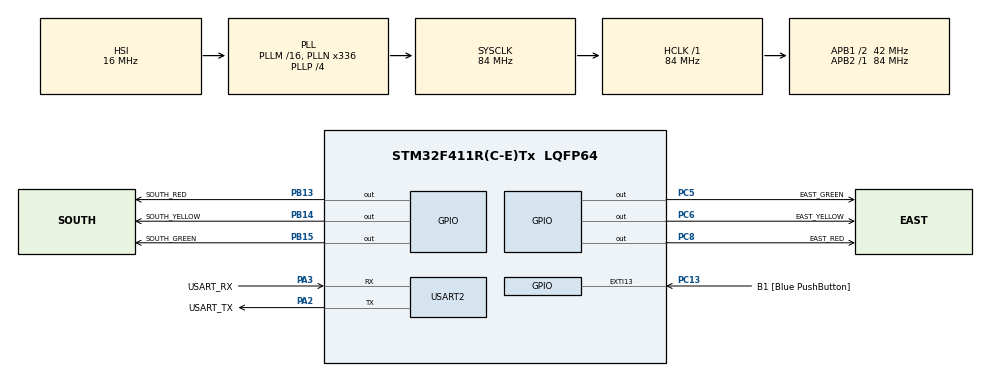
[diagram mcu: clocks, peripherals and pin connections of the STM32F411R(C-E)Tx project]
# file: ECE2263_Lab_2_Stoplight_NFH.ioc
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Mcu.Family=STM32F4
Mcu.Name=STM32F411R(C-E)Tx
Mcu.Package=LQFP64
NVIC.EXTI15_10_IRQn=true\:0\:0\:false\:false\:true\:true\:true
NVIC.PriorityGroup=NVIC_PRIORITYGROUP_0
PA13.GPIO_Label=TMS
PA13.Mode=Serial_Wire
PA13.Signal=SYS_JTMS-SWDIO
PA14.GPIO_Label=TCK
PA14.Mode=Serial_Wire
PA14.Signal=SYS_JTCK-SWCLK
PA2.GPIO_Label=USART_TX
PA2.Mode=Asynchronous
PA2.Signal=USART2_TX
PA3.GPIO_Label=USART_RX
PA3.Mode=Asynchronous
PA3.Signal=USART2_RX
PB13.GPIO_Label=SOUTH_RED
PB13.GPIO_PuPd=GPIO_PULLDOWN
PB13.PinState=GPIO_PIN_SET
PB13.Signal=GPIO_Output
PB14.GPIO_Label=SOUTH_YELLOW
PB14.GPIO_PuPd=GPIO_PULLDOWN
PB14.PinState=GPIO_PIN_SET
PB14.Signal=GPIO_Output
PB15.GPIO_Label=SOUTH_GREEN
PB15.GPIO_PuPd=GPIO_PULLDOWN
PB15.PinState=GPIO_PIN_SET
PB15.Signal=GPIO_Output
PB3.GPIO_Label=SWO
PB3.Signal=SYS_JTDO-SWO
PC13-ANTI_TAMP.GPIO_Label=B1 [Blue PushButton]
PC13-ANTI_TAMP.GPIO_ModeDefaultEXTI=GPIO_MODE_IT_FALLING
PC13-ANTI_TAMP.Signal=GPXTI13
PC14-OSC32_IN.Signal=RCC_OSC32_IN
PC15-OSC32_OUT.Signal=RCC_OSC32_OUT
PC5.GPIO_Label=EAST_GREEN
PC5.GPIO_PuPd=GPIO_PULLDOWN
PC5.PinState=GPIO_PIN_SET
PC5.Signal=GPIO_Output
PC6.GPIO_Label=EAST_YELLOW
PC6.GPIO_PuPd=GPIO_PULLDOWN
PC6.PinState=GPIO_PIN_SET
PC6.Signal=GPIO_Output
PC8.GPIO_Label=EAST_RED
PC8.GPIO_PuPd=GPIO_PULLDOWN
PC8.PinState=GPIO_PIN_SET
PC8.Signal=GPIO_Output
PH0\ -\ OSC_IN.Signal=RCC_OSC_IN
PH1\ -\ OSC_OUT.Signal=RCC_OSC_OUT
ProjectManager.HeapSize=0x200
ProjectManager.StackSize=0x400
ProjectManager.TargetToolchain=STM32CubeIDE
RCC.48MHZClocksFreq_Value=84000000
RCC.AHBFreq_Value=84000000
RCC.APB1CLKDivider=RCC_HCLK_DIV2
RCC.APB1Freq_Value=42000000
RCC.APB1TimFreq_Value=84000000
RCC.APB2Freq_Value=84000000
RCC.APB2TimFreq_Value=84000000
RCC.CortexFreq_Value=84000000
RCC.FLatency-AdvancedSettings=FLASH_LATENCY_2
RCC.HCLKFreq_Value=84000000
RCC.HSE_VALUE=8000000
RCC.HSI_VALUE=16000000
RCC.LSE_VALUE=32768
RCC.PLLN=336
RCC.PLLP=RCC_PLLP_DIV4
RCC.SYSCLKFreq_VALUE=84000000
RCC.SYSCLKSource=RCC_SYSCLKSOURCE_PLLCLK
RCC.VCOOutputFreq_Value=336000000
USART2.VirtualMode=VM_ASYNC
board=NUCLEO-F411RE

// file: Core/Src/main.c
/* USER CODE BEGIN Header */
/**
  ******************************************************************************
  * @file           : main.c
  * @brief          : Main program body
  ******************************************************************************
  * @attention
  *
  * <h2><center>&copy; Copyright (c) 2020 STMicroelectronics.
  * All rights reserved.</center></h2>
  *
  * This software component is licensed by ST under BSD 3-Clause license,
  * the "License"; You may not use this file except in compliance with the
  * License. You may obtain a copy of the License at:
  *                        opensource.org/licenses/BSD-3-Clause
  *
  ******************************************************************************
  */
/* USER CODE END Header */
#include "main.h"

/* USER CODE BEGIN PM */
const uint32_t ON_TIMER = 5000;
const uint32_t YEILD_TIMER = 2000;
/* USER CODE END PM */

UART_HandleTypeDef huart2;

/* USER CODE BEGIN PV */
	volatile uint32_t lightCounter = 0;
	uint8_t lightState = 0;
/* USER CODE END PV */

void SystemClock_Config(void);
static void MX_GPIO_Init(void);
static void MX_USART2_UART_Init(void);

int main(void)
{

  /* MCU Configuration--------------------------------------------------------*/

  /* Reset of all peripherals, Initializes the Flash interface and the Systick. */
  HAL_Init();

  /* Configure the system clock */
  SystemClock_Config();

  /* Initialize all configured peripherals */
  MX_GPIO_Init();
  MX_USART2_UART_Init();
  /* USER CODE BEGIN 2 */
  HAL_GPIO_WritePin(GPIOB, SOUTH_RED_Pin, GPIO_PIN_SET);
  HAL_GPIO_WritePin(GPIOB, SOUTH_YELLOW_Pin|SOUTH_GREEN_Pin, GPIO_PIN_RESET);
  HAL_GPIO_WritePin(GPIOC, EAST_RED_Pin, GPIO_PIN_SET);
  HAL_GPIO_WritePin(GPIOC,EAST_YELLOW_Pin|EAST_GREEN_Pin, GPIO_PIN_RESET);
  /* USER CODE END 2 */

  /* Infinite loop */
  while (1)
  {

    /* USER CODE BEGIN 3 */

	 if(lightCounter > YEILD_TIMER && lightState == 3){
		 lightState = 0;
		 lightCounter = 0;
	 }else if(lightCounter > ON_TIMER && lightState == 0){
		 lightState = 1;
		 lightCounter = 0;
	 }else if (lightCounter > YEILD_TIMER && lightState == 1){
		 lightState = 2;
		 lightCounter = 0;
	 }else if(lightCounter > ON_TIMER && lightState == 2){
		 lightState = 3;
		 lightCounter = 0;
	 }else if(lightState == 99 && lightCounter > ON_TIMER){
		 lightState = 0;
		 lightCounter = 0;
	 }

	 switch (lightState) {
		case 0:
			HAL_GPIO_WritePin(GPIOB, SOUTH_RED_Pin|SOUTH_YELLOW_Pin, GPIO_PIN_RESET);
			HAL_GPIO_WritePin(GPIOB, SOUTH_GREEN_Pin, GPIO_PIN_SET);
			HAL_GPIO_WritePin(GPIOC, EAST_RED_Pin, GPIO_PIN_SET);
			HAL_GPIO_WritePin(GPIOC, EAST_GREEN_Pin|EAST_YELLOW_Pin, GPIO_PIN_RESET);
			break;
		case 1:
			HAL_GPIO_WritePin(GPIOB, SOUTH_GREEN_Pin|SOUTH_RED_Pin, GPIO_PIN_RESET);
			HAL_GPIO_WritePin(GPIOB, SOUTH_YELLOW_Pin, GPIO_PIN_SET);
			HAL_GPIO_WritePin(GPIOC, EAST_RED_Pin, GPIO_PIN_SET);
			HAL_GPIO_WritePin(GPIOC, EAST_GREEN_Pin|EAST_YELLOW_Pin, GPIO_PIN_RESET);
			break;
		case 2:
			HAL_GPIO_WritePin(GPIOB, SOUTH_YELLOW_Pin|SOUTH_GREEN_Pin, GPIO_PIN_RESET);
			HAL_GPIO_WritePin(GPIOB, SOUTH_RED_Pin, GPIO_PIN_SET);
			HAL_GPIO_WritePin(GPIOC, EAST_RED_Pin|EAST_YELLOW_Pin, GPIO_PIN_RESET);
			HAL_GPIO_WritePin(GPIOC, EAST_GREEN_Pin, GPIO_PIN_SET);
			break;
		case 3:
			HAL_GPIO_WritePin(GPIOB, SOUTH_YELLOW_Pin|SOUTH_GREEN_Pin, GPIO_PIN_RESET);
			HAL_GPIO_WritePin(GPIOB, SOUTH_RED_Pin, GPIO_PIN_SET);
			HAL_GPIO_WritePin(GPIOC, EAST_GREEN_Pin|EAST_RED_Pin, GPIO_PIN_RESET);
			HAL_GPIO_WritePin(GPIOC, EAST_YELLOW_Pin, GPIO_PIN_SET);
			break;
		case 99:
			HAL_GPIO_WritePin(GPIOB, SOUTH_RED_Pin, GPIO_PIN_SET);
			HAL_GPIO_WritePin(GPIOB, SOUTH_YELLOW_Pin|SOUTH_GREEN_Pin, GPIO_PIN_RESET);
			HAL_GPIO_WritePin(GPIOC, EAST_RED_Pin, GPIO_PIN_SET);
			HAL_GPIO_WritePin(GPIOC,EAST_YELLOW_Pin|EAST_GREEN_Pin, GPIO_PIN_RESET);
			break;
		default:
			HAL_GPIO_WritePin(GPIOB, SOUTH_RED_Pin, GPIO_PIN_SET);
			HAL_GPIO_WritePin(GPIOB, SOUTH_YELLOW_Pin|SOUTH_GREEN_Pin, GPIO_PIN_RESET);
			HAL_GPIO_WritePin(GPIOC, EAST_RED_Pin, GPIO_PIN_SET);
			HAL_GPIO_WritePin(GPIOC,EAST_YELLOW_Pin|EAST_GREEN_Pin, GPIO_PIN_RESET);
			break;
	}

//
//  HAL_Delay(1000);

//  HAL_Delay(500);

//  HAL_Delay(1000);

  }
  /* USER CODE END 3 */
}

void SystemClock_Config(void)
{
  RCC_OscInitTypeDef RCC_OscInitStruct = {0};
  RCC_ClkInitTypeDef RCC_ClkInitStruct = {0};

  /** Configure the main internal regulator output voltage
  */
  __HAL_RCC_PWR_CLK_ENABLE();
  __HAL_PWR_VOLTAGESCALING_CONFIG(PWR_REGULATOR_VOLTAGE_SCALE1);
  /** Initializes the RCC Oscillators according to the specified parameters
  * in the RCC_OscInitTypeDef structure.
  */
  RCC_OscInitStruct.OscillatorType = RCC_OSCILLATORTYPE_HSI;
  RCC_OscInitStruct.HSIState = RCC_HSI_ON;
  RCC_OscInitStruct.HSICalibrationValue = RCC_HSICALIBRATION_DEFAULT;
  RCC_OscInitStruct.PLL.PLLState = RCC_PLL_ON;
  RCC_OscInitStruct.PLL.PLLSource = RCC_PLLSOURCE_HSI;
  RCC_OscInitStruct.PLL.PLLM = 16;
  RCC_OscInitStruct.PLL.PLLN = 336;
  RCC_OscInitStruct.PLL.PLLP = RCC_PLLP_DIV4;
  RCC_OscInitStruct.PLL.PLLQ = 4;
  if (HAL_RCC_OscConfig(&RCC_OscInitStruct) != HAL_OK)
  {
    Error_Handler();
  }
  /** Initializes the CPU, AHB and APB buses clocks
  */
  RCC_ClkInitStruct.ClockType = RCC_CLOCKTYPE_HCLK|RCC_CLOCKTYPE_SYSCLK
                              |RCC_CLOCKTYPE_PCLK1|RCC_CLOCKTYPE_PCLK2;
  RCC_ClkInitStruct.SYSCLKSource = RCC_SYSCLKSOURCE_PLLCLK;
  RCC_ClkInitStruct.AHBCLKDivider = RCC_SYSCLK_DIV1;
  RCC_ClkInitStruct.APB1CLKDivider = RCC_HCLK_DIV2;
  RCC_ClkInitStruct.APB2CLKDivider = RCC_HCLK_DIV1;

  if (HAL_RCC_ClockConfig(&RCC_ClkInitStruct, FLASH_LATENCY_2) != HAL_OK)
  {
    Error_Handler();
  }
}

static void MX_USART2_UART_Init(void)
{

  huart2.Instance = USART2;
  huart2.Init.BaudRate = 115200;
  huart2.Init.WordLength = UART_WORDLENGTH_8B;
  huart2.Init.StopBits = UART_STOPBITS_1;
  huart2.Init.Parity = UART_PARITY_NONE;
  huart2.Init.Mode = UART_MODE_TX_RX;
  huart2.Init.HwFlowCtl = UART_HWCONTROL_NONE;
  huart2.Init.OverSampling = UART_OVERSAMPLING_16;
  if (HAL_UART_Init(&huart2) != HAL_OK)
  {
    Error_Handler();
  }

}

static void MX_GPIO_Init(void)
{
  GPIO_InitTypeDef GPIO_InitStruct = {0};

  /* GPIO Ports Clock Enable */
  __HAL_RCC_GPIOC_CLK_ENABLE();
  __HAL_RCC_GPIOH_CLK_ENABLE();
  __HAL_RCC_GPIOA_CLK_ENABLE();
  __HAL_RCC_GPIOB_CLK_ENABLE();

  /*Configure GPIO pin Output Level */
  HAL_GPIO_WritePin(GPIOC, EAST_GREEN_Pin|EAST_YELLOW_Pin|EAST_RED_Pin, GPIO_PIN_SET);

  /*Configure GPIO pin Output Level */
  HAL_GPIO_WritePin(GPIOB, SOUTH_RED_Pin|SOUTH_YELLOW_Pin|SOUTH_GREEN_Pin, GPIO_PIN_SET);

  /*Configure GPIO pin : B1_Pin */
  GPIO_InitStruct.Pin = B1_Pin;
  GPIO_InitStruct.Mode = GPIO_MODE_IT_FALLING;
  GPIO_InitStruct.Pull = GPIO_NOPULL;
  HAL_GPIO_Init(B1_GPIO_Port, &GPIO_InitStruct);

  /*Configure GPIO pins : EAST_GREEN_Pin EAST_YELLOW_Pin EAST_RED_Pin */
  GPIO_InitStruct.Pin = EAST_GREEN_Pin|EAST_YELLOW_Pin|EAST_RED_Pin;
  GPIO_InitStruct.Mode = GPIO_MODE_OUTPUT_PP;
  GPIO_InitStruct.Pull = GPIO_PULLDOWN;
  GPIO_InitStruct.Speed = GPIO_SPEED_FREQ_LOW;
  HAL_GPIO_Init(GPIOC, &GPIO_InitStruct);

  /*Configure GPIO pins : SOUTH_RED_Pin SOUTH_YELLOW_Pin SOUTH_GREEN_Pin */
  GPIO_InitStruct.Pin = SOUTH_RED_Pin|SOUTH_YELLOW_Pin|SOUTH_GREEN_Pin;
  GPIO_InitStruct.Mode = GPIO_MODE_OUTPUT_PP;
  GPIO_InitStruct.Pull = GPIO_PULLDOWN;
  GPIO_InitStruct.Speed = GPIO_SPEED_FREQ_LOW;
  HAL_GPIO_Init(GPIOB, &GPIO_InitStruct);

  /* EXTI interrupt init*/
  HAL_NVIC_SetPriority(EXTI15_10_IRQn, 0, 0);
  HAL_NVIC_EnableIRQ(EXTI15_10_IRQn);

}

void Error_Handler(void)
{
}

/************************ (C) COPYRIGHT STMicroelectronics *****END OF FILE****/
